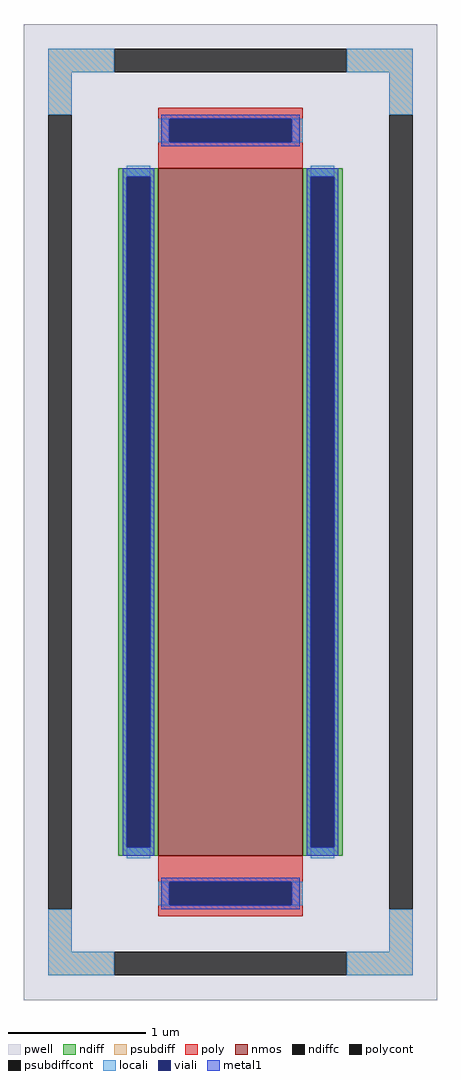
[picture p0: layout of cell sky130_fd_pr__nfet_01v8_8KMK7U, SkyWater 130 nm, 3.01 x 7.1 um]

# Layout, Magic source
magic
tech sky130A
magscale 1 2
<< pwell >>
rect -301 -710 301 710
<< nmos >>
rect -105 -500 105 500
<< ndiff >>
rect -163 488 -105 500
rect -163 -488 -151 488
rect -117 -488 -105 488
rect -163 -500 -105 -488
rect 105 488 163 500
rect 105 -488 117 488
rect 151 -488 163 488
rect 105 -500 163 -488
<< ndiffc >>
rect -151 -488 -117 488
rect 117 -488 151 488
<< psubdiff >>
rect -265 640 -169 674
rect 169 640 265 674
rect -265 578 -231 640
rect 231 578 265 640
rect -265 -640 -231 -578
rect 231 -640 265 -578
rect -265 -674 -169 -640
rect 169 -674 265 -640
<< psubdiffcont >>
rect -169 640 169 674
rect -265 -578 -231 578
rect 231 -578 265 578
rect -169 -674 169 -640
<< poly >>
rect -105 572 105 588
rect -105 538 -89 572
rect 89 538 105 572
rect -105 500 105 538
rect -105 -538 105 -500
rect -105 -572 -89 -538
rect 89 -572 105 -538
rect -105 -588 105 -572
<< polycont >>
rect -89 538 89 572
rect -89 -572 89 -538
<< locali >>
rect -265 640 -169 674
rect 169 640 265 674
rect -265 578 -231 640
rect 231 578 265 640
rect -105 538 -89 572
rect 89 538 105 572
rect -151 488 -117 504
rect -151 -504 -117 -488
rect 117 488 151 504
rect 117 -504 151 -488
rect -105 -572 -89 -538
rect 89 -572 105 -538
rect -265 -640 -231 -578
rect 231 -640 265 -578
rect -265 -674 -169 -640
rect 169 -674 265 -640
<< viali >>
rect -89 538 89 572
rect -151 -488 -117 488
rect 117 -488 151 488
rect -89 -572 89 -538
<< metal1 >>
rect -101 572 101 578
rect -101 538 -89 572
rect 89 538 101 572
rect -101 532 101 538
rect -157 488 -111 500
rect -157 -488 -151 488
rect -117 -488 -111 488
rect -157 -500 -111 -488
rect 111 488 157 500
rect 111 -488 117 488
rect 151 -488 157 488
rect 111 -500 157 -488
rect -101 -538 101 -532
rect -101 -572 -89 -538
rect 89 -572 101 -538
rect -101 -578 101 -572
<< properties >>
string FIXED_BBOX -248 -657 248 657
string gencell sky130_fd_pr__nfet_01v8
string library sky130
string parameters w 5.0 l 1.05 m 1 nf 1 diffcov 100 polycov 100 guard 1 glc 1 grc 1 gtc 1 gbc 1 tbcov 100 rlcov 100 topc 1 botc 1 poverlap 0 doverlap 1 lmin 0.15 wmin 0.42 compatible {sky130_fd_pr__nfet_01v8 sky130_fd_pr__nfet_01v8_lvt  sky130_fd_bs_flash__special_sonosfet_star  sky130_fd_pr__nfet_g5v0d10v5 sky130_fd_pr__nfet_05v0_nvt  sky130_fd_pr__nfet_03v3_nvt} full_metal 1 viasrc 100 viadrn 100 viagate 100 viagb 0 viagr 0 viagl 0 viagt 0
<< end >>
